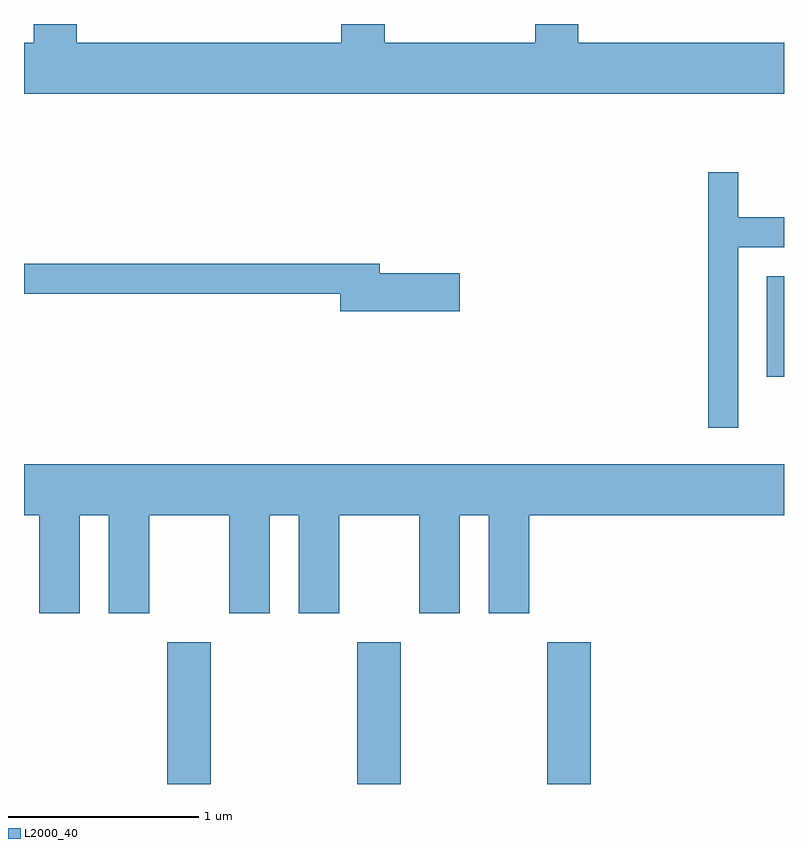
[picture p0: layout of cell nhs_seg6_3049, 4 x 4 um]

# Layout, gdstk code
import gdstk
lib = gdstk.Library(unit=1e-6, precision=1e-09)
def R(c, l, rs):  # rectangles x0, y0, x1, y1
    for r in rs: c.add(gdstk.rectangle(r[:2], r[2:], *l))
def A(c, l, x, y, w, h, nx, ny, dx, dy):  # array of equal rectangles
    R(c, l, [(x+i*dx, y+j*dy, x+i*dx+w, y+j*dy+h) for i in range(nx) for j in range(ny)])
def P(c, l, *ps):  # polygons
    for p in ps: c.add(gdstk.Polygon(p, *l))
L2000_40 = (2000, 40)

nhs_seg6_3049 = lib.new_cell('nhs_seg6_3049')
A(nhs_seg6_3049, L2000_40, 278.366, 1564.162, 0.228, 0.747, 3, 1, 1, 0)
R(nhs_seg6_3049, L2000_40, [(281.521,1566.306,281.611,1566.834)])
P(nhs_seg6_3049, L2000_40, [(281.611,1568.064),(280.529,1568.064),(280.529,1568.162),(280.301,1568.162),(280.301,1568.064),(279.509,1568.064),(279.509,1568.162),(279.281,1568.162),(279.281,1568.064),(277.889,1568.064),(277.889,1568.162),(277.661,1568.162),(277.661,1568.064),(277.611,1568.064),(277.611,1567.796),(281.611,1567.796)],
  [(281.369,1566.986),(281.611,1566.986),(281.611,1567.144),(281.369,1567.144),(281.369,1567.383),(281.211,1567.383),(281.211,1566.038),(281.369,1566.038)],
  [(279.904,1566.849),(279.484,1566.849),(279.484,1566.899),(277.611,1566.899),(277.611,1566.741),(279.276,1566.741),(279.276,1566.651),(279.904,1566.651)],
  [(277.904,1565.576),(278.056,1565.576),(278.056,1565.061),(278.269,1565.061),(278.269,1565.576),(278.691,1565.576),(278.691,1565.061),(278.904,1565.061),(278.904,1565.576),(279.056,1565.576),(279.056,1565.061),(279.269,1565.061),(279.269,1565.576),(279.691,1565.576),(279.691,1565.061),(279.904,1565.061),(279.904,1565.576),(280.056,1565.576),(280.056,1565.061),(280.269,1565.061),(280.269,1565.576),(281.611,1565.576),(281.611,1565.844),(277.611,1565.844),(277.611,1565.576),(277.691,1565.576),(277.691,1565.061),(277.904,1565.061)])

lib.write_gds('nhs_seg6_3049.gds')
